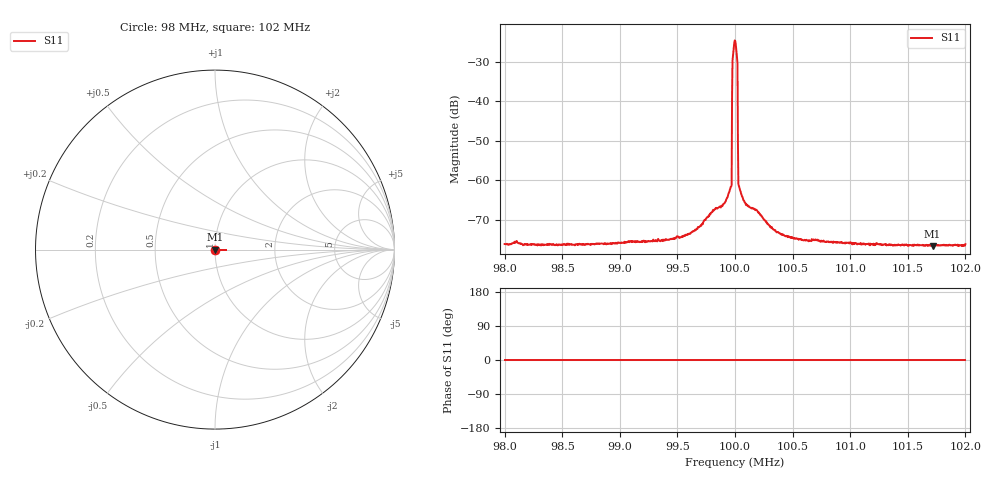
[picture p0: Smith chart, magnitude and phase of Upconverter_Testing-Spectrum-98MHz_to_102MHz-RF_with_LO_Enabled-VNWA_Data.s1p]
! ListType=Lin
# MHz S DB R 50
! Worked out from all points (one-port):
!   1024 points, 98 MHz to 102 MHz, reference 50 ohm
!   lowest |S11| = -76.7 dB at 101.71 MHz (marker M1), VSWR 1.00, Z = 50 + j0 ohm
!   |S11| at or under -10 dB: start of sweep to end of sweep
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98  -76.18 0.0
98.09775  -75.78 0.0
98.17595  -76.33 0.0
98.50049  -76.24 0.0
99.00098  -75.91 0.0
99.36852  -75.11 0.0
99.50147  -74.24 0.0
99.59922  -73.63 0.0
99.68915  -71.91 0.0
99.81036  -67.51 0.0
99.89638  -66.14 0.0
99.95112  -62.89 0.0
99.95894  -62.15 0.0
99.99413  -25.12 0.0
99.99805  -24.63 0.0
100.002  -24.77 0.0
100.0059  -25.42 0.0
100.0098  -26.48 0.0
100.045  -62.63 0.0
100.0489  -62.88 0.0
100.0997  -66.12 0.0
100.1975  -67.97 0.0
100.3226  -72.21 0.0
100.5024  -74.64 0.0
101.0029  -75.72 0.0
101.5034  -76.43 0.0
101.7146  -76.72 0.0
102  -76.19 0.0
